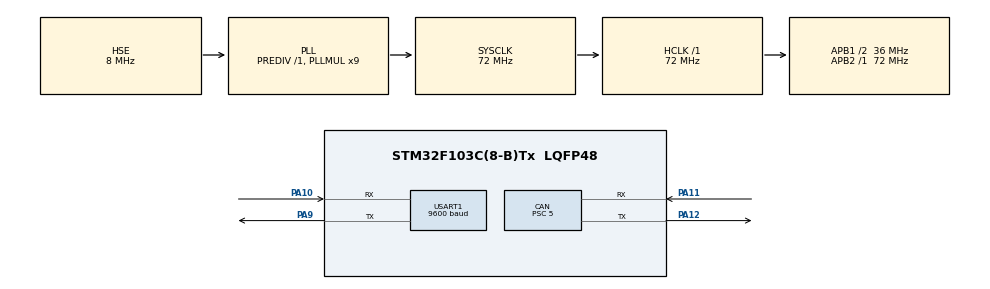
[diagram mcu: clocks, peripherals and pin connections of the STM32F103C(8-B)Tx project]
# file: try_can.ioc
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CAN.BS1=CAN_BS1_3TQ
CAN.BS2=CAN_BS2_5TQ
CAN.CalculateTimeBit=1250
CAN.CalculateTimeQuantum=138.88888888888889
CAN.Mode=CAN_MODE_NORMAL
CAN.NART=DISABLE
CAN.Prescaler=5
Mcu.Family=STM32F1
Mcu.Name=STM32F103C(8-B)Tx
Mcu.Package=LQFP48
NVIC.PriorityGroup=NVIC_PRIORITYGROUP_4
PA10.Mode=Asynchronous
PA10.Signal=USART1_RX
PA11.Mode=Master
PA11.Signal=CAN_RX
PA12.Mode=Master
PA12.Signal=CAN_TX
PA13.Mode=Serial_Wire
PA13.Signal=SYS_JTMS-SWDIO
PA14.Mode=Serial_Wire
PA14.Signal=SYS_JTCK-SWCLK
PA9.Mode=Asynchronous
PA9.Signal=USART1_TX
PD0-OSC_IN.Mode=HSE-External-Oscillator
PD0-OSC_IN.Signal=RCC_OSC_IN
PD1-OSC_OUT.Mode=HSE-External-Oscillator
PD1-OSC_OUT.Signal=RCC_OSC_OUT
ProjectManager.HeapSize=0x200
ProjectManager.StackSize=0x400
ProjectManager.TargetToolchain=MDK-ARM V5
RCC.AHBFreq_Value=72000000
RCC.APB1CLKDivider=RCC_HCLK_DIV2
RCC.APB1Freq_Value=36000000
RCC.APB1TimFreq_Value=72000000
RCC.APB2Freq_Value=72000000
RCC.APB2TimFreq_Value=72000000
RCC.HCLKFreq_Value=72000000
RCC.PLLMUL=RCC_PLL_MUL9
RCC.PLLSourceVirtual=RCC_PLLSOURCE_HSE
RCC.SYSCLKFreq_VALUE=72000000
RCC.SYSCLKSource=RCC_SYSCLKSOURCE_PLLCLK
RCC.USBFreq_Value=72000000
USART1.BaudRate=9600
USART1.VirtualMode=VM_ASYNC
board=try_can

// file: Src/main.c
/**
  ******************************************************************************
  * File Name          : main.c
  * Description        : Main program body
  ******************************************************************************
  ** This notice applies to any and all portions of this file
  * that are not between comment pairs USER CODE BEGIN and
  * USER CODE END. Other portions of this file, whether
  * inserted by the user or by software development tools
  * are owned by their respective copyright owners.
  *
  * COPYRIGHT(c) 2018 STMicroelectronics
  *
  * Redistribution and use in source and binary forms, with or without modification,
  * are permitted provided that the following conditions are met:
  *   1. Redistributions of source code must retain the above copyright notice,
  *      this list of conditions and the following disclaimer.
  *   2. Redistributions in binary form must reproduce the above copyright notice,
  *      this list of conditions and the following disclaimer in the documentation
  *      and/or other materials provided with the distribution.
  *   3. Neither the name of STMicroelectronics nor the names of its contributors
  *      may be used to endorse or promote products derived from this software
  *      without specific prior written permission.
  *
  * THIS SOFTWARE IS PROVIDED BY THE COPYRIGHT HOLDERS AND CONTRIBUTORS "AS IS"
  * AND ANY EXPRESS OR IMPLIED WARRANTIES, INCLUDING, BUT NOT LIMITED TO, THE
  * IMPLIED WARRANTIES OF MERCHANTABILITY AND FITNESS FOR A PARTICULAR PURPOSE ARE
  * DISCLAIMED. IN NO EVENT SHALL THE COPYRIGHT HOLDER OR CONTRIBUTORS BE LIABLE
  * FOR ANY DIRECT, INDIRECT, INCIDENTAL, SPECIAL, EXEMPLARY, OR CONSEQUENTIAL
  * DAMAGES (INCLUDING, BUT NOT LIMITED TO, PROCUREMENT OF SUBSTITUTE GOODS OR
  * SERVICES; LOSS OF USE, DATA, OR PROFITS; OR BUSINESS INTERRUPTION) HOWEVER
  * CAUSED AND ON ANY THEORY OF LIABILITY, WHETHER IN CONTRACT, STRICT LIABILITY,
  * OR TORT (INCLUDING NEGLIGENCE OR OTHERWISE) ARISING IN ANY WAY OUT OF THE USE
  * OF THIS SOFTWARE, EVEN IF ADVISED OF THE POSSIBILITY OF SUCH DAMAGE.
  *
  ******************************************************************************
  */
#include "main.h"
#include "stm32f1xx_hal.h"

CAN_HandleTypeDef hcan;

UART_HandleTypeDef huart1;

/* USER CODE BEGIN PV */
/* Private variables ---------------------------------------------------------*/

/* USER CODE END PV */

void SystemClock_Config(void);
static void MX_GPIO_Init(void);
static void MX_CAN_Init(void);
static void MX_USART1_UART_Init(void);

/* USER CODE BEGIN PFP */
/* Private function prototypes -----------------------------------------------*/
CAN_FilterConfTypeDef  sFilterConfig;
static CanTxMsgTypeDef TxMessage;

/* USER CODE END PFP */

int main(void)
{

  /* MCU Configuration----------------------------------------------------------*/

  /* Reset of all peripherals, Initializes the Flash interface and the Systick. */
  HAL_Init();

  /* Configure the system clock */
  SystemClock_Config();

  /* Initialize all configured peripherals */
  MX_GPIO_Init();
  MX_CAN_Init();
  MX_USART1_UART_Init();

  /* USER CODE BEGIN 2 */
	hcan.pTxMsg = &TxMessage;

	hcan.pTxMsg->StdId = 0x123;
  hcan.pTxMsg->RTR = CAN_RTR_DATA;
  hcan.pTxMsg->IDE = CAN_ID_STD;
  hcan.pTxMsg->DLC = 8;
  hcan.pTxMsg->Data[0] = 'F';
	hcan.pTxMsg->Data[1] = 'U';
  hcan.pTxMsg->Data[2] = 'C';
  hcan.pTxMsg->Data[3] = 'K';
  hcan.pTxMsg->Data[4] = 'Y';
  hcan.pTxMsg->Data[5] = 'O';
  hcan.pTxMsg->Data[6] = 'U';
  hcan.pTxMsg->Data[7] = 0;
  /* USER CODE END 2 */

  /* Infinite loop */
  while (1)
  {

  /* USER CODE BEGIN 3 */
	if(HAL_CAN_Transmit(&hcan, 10) != HAL_OK)
      {
				HAL_UART_Transmit(&huart1, (uint8_t *)"error\n", 6, 100);
				Error_Handler();
      }
  if(HAL_CAN_GetState(&hcan) != HAL_CAN_STATE_READY)
      {
          Error_Handler();
      }
      HAL_UART_Transmit(&huart1, (uint8_t *)"OK\n", 3, 100);
      hcan.pTxMsg->Data[7]++;
			HAL_Delay(1000);
  }
  /* USER CODE END 3 */

}

/** System Clock Configuration
*/
void SystemClock_Config(void)
{

  RCC_OscInitTypeDef RCC_OscInitStruct;
  RCC_ClkInitTypeDef RCC_ClkInitStruct;

    /**Initializes the CPU, AHB and APB busses clocks
    */
  RCC_OscInitStruct.OscillatorType = RCC_OSCILLATORTYPE_HSE;
  RCC_OscInitStruct.HSEState = RCC_HSE_ON;
  RCC_OscInitStruct.HSEPredivValue = RCC_HSE_PREDIV_DIV1;
  RCC_OscInitStruct.HSIState = RCC_HSI_ON;
  RCC_OscInitStruct.PLL.PLLState = RCC_PLL_ON;
  RCC_OscInitStruct.PLL.PLLSource = RCC_PLLSOURCE_HSE;
  RCC_OscInitStruct.PLL.PLLMUL = RCC_PLL_MUL9;
  if (HAL_RCC_OscConfig(&RCC_OscInitStruct) != HAL_OK)
  {
    _Error_Handler(__FILE__, __LINE__);
  }

    /**Initializes the CPU, AHB and APB busses clocks
    */
  RCC_ClkInitStruct.ClockType = RCC_CLOCKTYPE_HCLK|RCC_CLOCKTYPE_SYSCLK
                              |RCC_CLOCKTYPE_PCLK1|RCC_CLOCKTYPE_PCLK2;
  RCC_ClkInitStruct.SYSCLKSource = RCC_SYSCLKSOURCE_PLLCLK;
  RCC_ClkInitStruct.AHBCLKDivider = RCC_SYSCLK_DIV1;
  RCC_ClkInitStruct.APB1CLKDivider = RCC_HCLK_DIV2;
  RCC_ClkInitStruct.APB2CLKDivider = RCC_HCLK_DIV1;

  if (HAL_RCC_ClockConfig(&RCC_ClkInitStruct, FLASH_LATENCY_2) != HAL_OK)
  {
    _Error_Handler(__FILE__, __LINE__);
  }

    /**Configure the Systick interrupt time
    */
  HAL_SYSTICK_Config(HAL_RCC_GetHCLKFreq()/1000);

    /**Configure the Systick
    */
  HAL_SYSTICK_CLKSourceConfig(SYSTICK_CLKSOURCE_HCLK);

  /* SysTick_IRQn interrupt configuration */
  HAL_NVIC_SetPriority(SysTick_IRQn, 0, 0);
}

/* CAN init function */
static void MX_CAN_Init(void)
{

  hcan.Instance = CAN1;
  hcan.Init.Prescaler = 5;
  hcan.Init.Mode = CAN_MODE_NORMAL;
  hcan.Init.SJW = CAN_SJW_1TQ;
  hcan.Init.BS1 = CAN_BS1_3TQ;
  hcan.Init.BS2 = CAN_BS2_5TQ;
  hcan.Init.TTCM = DISABLE;
  hcan.Init.ABOM = DISABLE;
  hcan.Init.AWUM = DISABLE;
  hcan.Init.NART = DISABLE;
  hcan.Init.RFLM = DISABLE;
  hcan.Init.TXFP = DISABLE;
  if (HAL_CAN_Init(&hcan) != HAL_OK)
  {
    _Error_Handler(__FILE__, __LINE__);
  }

}

/* USART1 init function */
static void MX_USART1_UART_Init(void)
{

  huart1.Instance = USART1;
  huart1.Init.BaudRate = 9600;
  huart1.Init.WordLength = UART_WORDLENGTH_8B;
  huart1.Init.StopBits = UART_STOPBITS_1;
  huart1.Init.Parity = UART_PARITY_NONE;
  huart1.Init.Mode = UART_MODE_TX_RX;
  huart1.Init.HwFlowCtl = UART_HWCONTROL_NONE;
  huart1.Init.OverSampling = UART_OVERSAMPLING_16;
  if (HAL_UART_Init(&huart1) != HAL_OK)
  {
    _Error_Handler(__FILE__, __LINE__);
  }

}

/** Configure pins as
        * Analog
        * Input
        * Output
        * EVENT_OUT
        * EXTI
*/
static void MX_GPIO_Init(void)
{

  /* GPIO Ports Clock Enable */
  __HAL_RCC_GPIOD_CLK_ENABLE();
  __HAL_RCC_GPIOA_CLK_ENABLE();

}

void _Error_Handler(char * file, int line)
{
  while(1)
  {
  }
}

/************************ (C) COPYRIGHT STMicroelectronics *****END OF FILE****/
